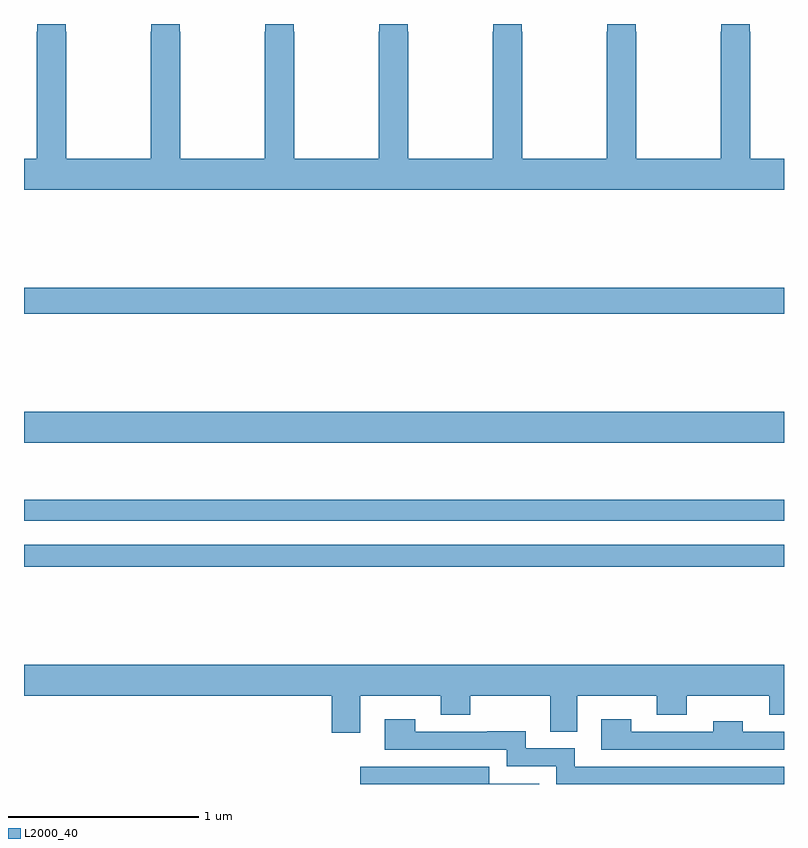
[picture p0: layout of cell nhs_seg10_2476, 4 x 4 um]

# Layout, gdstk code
import gdstk
lib = gdstk.Library(unit=1e-6, precision=1e-09)
def R(c, l, rs):  # rectangles x0, y0, x1, y1
    for r in rs: c.add(gdstk.rectangle(r[:2], r[2:], *l))
def P(c, l, *ps):  # polygons
    for p in ps: c.add(gdstk.Polygon(p, *l))
L2000_40 = (2000, 40)

nhs_seg10_2476 = lib.new_cell('nhs_seg10_2476')
R(nhs_seg10_2476, L2000_40, [(243,1319.644,247,1319.76), (243,1319.886,247,1319.995), (243,1320.296,247,1320.46), (243,1320.976,247,1321.112)])
P(nhs_seg10_2476, L2000_40, [(247,1321.792),(246.822,1321.792),(246.822,1322.459),(246.819,1322.459),(246.819,1322.5),(246.669,1322.5),(246.669,1322.459),(246.667,1322.459),(246.667,1321.792),(246.222,1321.792),(246.222,1322.459),(246.219,1322.459),(246.219,1322.5),(246.069,1322.5),(246.069,1322.459),(246.067,1322.459),(246.067,1321.792),(245.622,1321.792),(245.622,1322.459),(245.619,1322.459),(245.619,1322.5),(245.469,1322.5),(245.469,1322.459),(245.467,1322.459),(245.467,1321.792),(245.022,1321.792),(245.022,1322.459),(245.019,1322.459),(245.019,1322.5),(244.869,1322.5),(244.869,1322.459),(244.867,1322.459),(244.867,1321.792),(244.422,1321.792),(244.422,1322.459),(244.419,1322.459),(244.419,1322.5),(244.269,1322.5),(244.269,1322.459),(244.267,1322.459),(244.267,1321.792),(243.822,1321.792),(243.822,1322.459),(243.819,1322.459),(243.819,1322.5),(243.669,1322.5),(243.669,1322.459),(243.667,1322.459),(243.667,1321.792),(243.222,1321.792),(243.222,1322.459),(243.219,1322.459),(243.219,1322.5),(243.069,1322.5),(243.069,1322.459),(243.067,1322.459),(243.067,1321.792),(243,1321.792),(243,1321.628),(247,1321.628)],
  [(244.771,1318.964),(245.194,1318.964),(245.194,1318.865),(245.349,1318.865),(245.349,1318.964),(245.771,1318.964),(245.771,1318.774),(245.911,1318.774),(245.911,1318.964),(246.331,1318.964),(246.331,1318.865),(246.489,1318.865),(246.489,1318.964),(246.922,1318.964),(246.922,1318.865),(247,1318.865),(247,1319.128),(243,1319.128),(243,1318.964),(244.619,1318.964),(244.619,1318.77),(244.771,1318.77)],
  [(247,1318.776),(246.783,1318.776),(246.783,1318.831),(246.628,1318.831),(246.628,1318.776),(246.195,1318.776),(246.195,1318.84),(246.039,1318.84),(246.039,1318.68),(247,1318.68)],
  [(247,1318.59),(245.899,1318.59),(245.899,1318.689),(245.641,1318.689),(245.641,1318.778),(245.437,1318.778),(245.437,1318.776),(245.06,1318.776),(245.06,1318.84),(244.899,1318.84),(244.899,1318.68),(245.54,1318.68),(245.54,1318.593),(245.802,1318.593),(245.802,1318.5),(247,1318.5)],
  [(245.713,1318.501),(245.448,1318.501),(245.448,1318.59),(244.769,1318.59),(244.769,1318.5),(245.713,1318.5)])

lib.write_gds('nhs_seg10_2476.gds')
